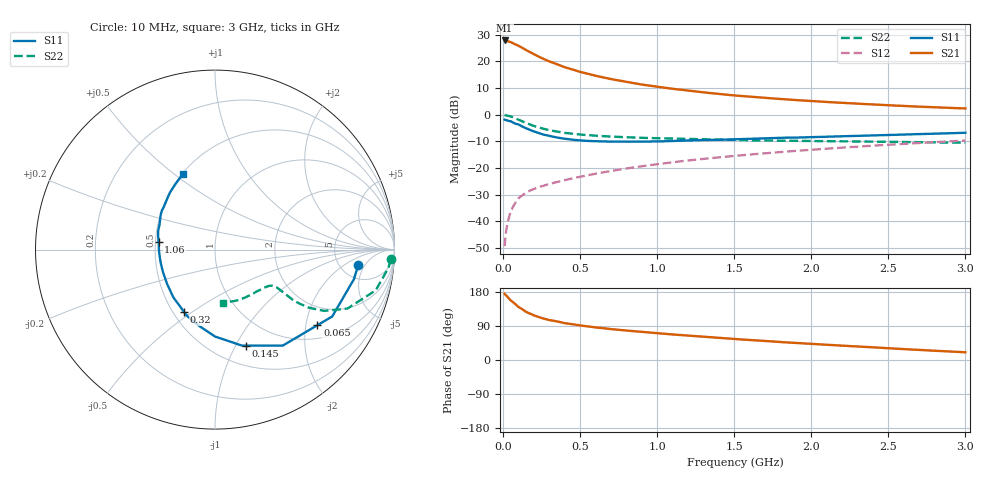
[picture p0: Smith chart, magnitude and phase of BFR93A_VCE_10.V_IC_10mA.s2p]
! Infineon Technologies  Discrete & RF Semiconductors
! BFR93A
! VCE =  10. V,  IC =  10 mA
! Common Emitter S-Parameters:  Nov 2015
# GHz  S  MA  R  50
!  f  S11  S21  S12  S22
! GHz  MAG  ANG  MAG  ANG  MAG  ANG  MAG  ANG
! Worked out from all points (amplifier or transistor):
!   180 points, 10 MHz to 3 GHz, reference 50 ohm
!   highest |S21| = 27.8 dB at 10 MHz (marker M1)
!   |S21| within 3 dB of that: start of sweep to 130.8 MHz
!   unconditionally stable (mu >= 1): 607.7 MHz to 2.575 GHz
!   at 160 MHz: K = 0.48, MSG = 26.4 dB, |S12| = -28.9 dB
!   at 1.22 GHz: K = 1.09, MAG = 11.2 dB, |S12| = -17.1 dB
!   at 3 GHz: K = 0.95, MSG = 6.0 dB, |S12| = -9.7 dB
!   S11 on the Smith chart (normalised r, x): 10 MHz: 7.40, -3.55; 65 MHz: 1.38, -2.33; 145 MHz: 0.70, -1.10; 320 MHz: 0.57, -0.46; 1.06 GHz: 0.52, +0.05; 3 GHz: 0.50, +0.53
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0.01  0.8026 -6.1  24.63 174.7  0.0034 84.4  0.981 -3.1
0.02  0.7916 -12.0  24.35 170.2  0.0066 82.4  0.9717 -6.0
0.05  0.752 -29.7  23 157.1  0.0153 75.5  0.9238 -14.2
0.065  0.7093 -36.4  21.8 152.5  0.0187 71.5  0.8864 -16.9
0.1  0.6549 -54.7  19.64 139.8  0.0269 66.1  0.8076 -24.0
0.145  0.5622 -72.1  16.54 128.2  0.0337 60.9  0.7065 -28.8
0.15  0.5556 -74.3  16.24 126.7  0.0345 60.5  0.6956 -29.4
0.2  0.4845 -89.9  13.56 117.6  0.0403 58.5  0.6124 -31.8
0.24  0.4397 -100.1  11.91 112.2  0.0443 57.7  0.5645 -32.5
0.26  0.4235 -104.9  11.2 109.7  0.0462 57.6  0.5441 -32.7
0.3  0.3994 -113.3  9.958 105.4  0.0498 58.0  0.51 -32.8
0.32  0.3874 -116.5  9.503 104.1  0.0516 58.3  0.4988 -32.7
0.4  0.3532 -131.0  7.751 97.2  0.059 59.3  0.4539 -32.2
0.52  0.3249 -146.7  6.14 90.1  0.0701 61.0  0.4181 -31.7
0.7  0.312 -164.1  4.642 81.6  0.0876 62.7  0.3869 -31.8
0.88  0.3115 -177.3  3.753 74.9  0.1053 63.4  0.3686 -33.0
1.02  0.3149 174.7  3.271 70.1  0.1193 63.4  0.3594 -34.5
1.06  0.317 172.5  3.161 68.8  0.1234 63.3  0.357 -35.1
1.52  0.3459 152.5  2.265 54.9  0.17 61.6  0.3339 -42.7
2.02  0.3795 136.9  1.784 42.1  0.2212 58.3  0.319 -53.7
2.52  0.4163 124.3  1.49 30.7  0.2742 54.1  0.3085 -66.6
3  0.4565 113.3  1.304 20.4  0.3267 49.4  0.2978 -81.9
